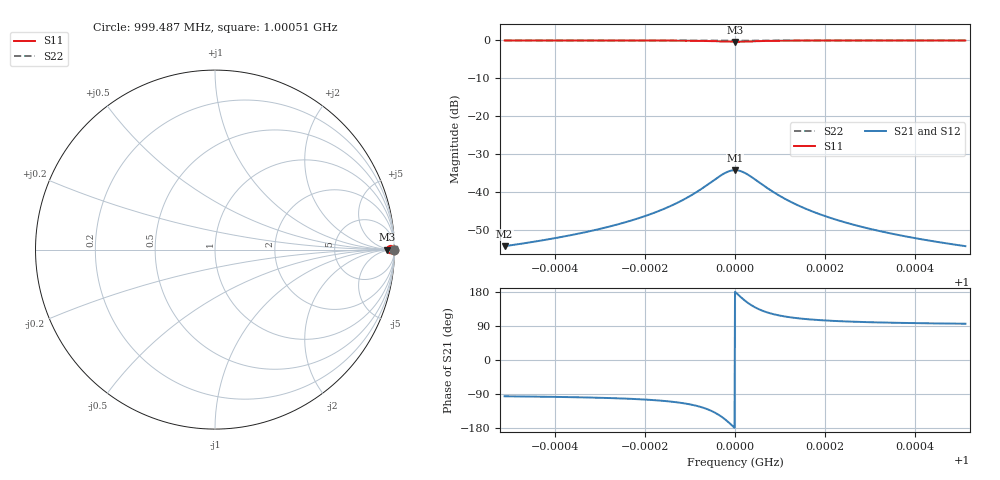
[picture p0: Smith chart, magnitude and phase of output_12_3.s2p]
! File generated for n1 = 12, n2 = 3
! b1 = 0.021544
! b2 = 0.004642
! Q0 = 10000.000000
! f0 = 1000000000.000000
! n = 1001
! rel_span = 10.000000
# Hz S RI R 50
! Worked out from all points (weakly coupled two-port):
!   1001 points, 999.487 MHz to 1.00051 GHz, reference 50 ohm
!   highest |S21| = -34.20 dB at 1 GHz (marker M1); lowest = -54.2 dB at 999.487 MHz (marker M2)
!   lowest |S11| = -0.4 dB at 1 GHz (marker M3), VSWR 46.63, Z = 2.33e+03 + j0 ohm
!   |S11| at or under -10 dB: nowhere
!   |S22| runs from -0.1 to 0.0 dB; largest |S21 - S12| = 0
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9.994869e8  0.9996 -0.00416  -0.000193 -0.00193  -0.000193 -0.00193  0.9999 -0.000895
9.995752e8  0.9994 -0.005  -0.00028 -0.00232  -0.00028 -0.00232  0.9999 -0.00108
9.996583e8  0.9991 -0.00616  -0.00043 -0.00286  -0.00043 -0.00286  0.9998 -0.00133
9.997527e8  0.9983 -0.00835  -0.000804 -0.00388  -0.000804 -0.00388  0.9996 -0.0018
9.997927e8  0.9976 -0.00979  -0.00112 -0.00455  -0.00112 -0.00455  0.9995 -0.00211
9.998297e8  0.9965 -0.0116  -0.00162 -0.00538  -0.00162 -0.00538  0.9992 -0.0025
9.998656e8  0.9947 -0.014  -0.00248 -0.00649  -0.00248 -0.00649  0.9988 -0.00301
9.998974e8  0.9916 -0.0168  -0.0039 -0.0078  -0.0039 -0.0078  0.9982 -0.00362
9.99922e8  0.9873 -0.0193  -0.00589 -0.00895  -0.00589 -0.00895  0.9973 -0.00415
9.999764e8  0.9653 -0.0159  -0.0161 -0.0074  -0.0161 -0.0074  0.9925 -0.00343
9.999887e8  0.9599 -0.00881  -0.0186 -0.00409  -0.0186 -0.00409  0.9914 -0.0019
1e9  0.958 0  -0.0195 0  -0.0195 0  0.991 0
1.000011e9  0.9599 0.00881  -0.0186 0.00409  -0.0186 0.00409  0.9914 0.0019
1.000024e9  0.9653 0.0159  -0.0161 0.0074  -0.0161 0.0074  0.9925 0.00343
1.000078e9  0.9873 0.0193  -0.00589 0.00895  -0.00589 0.00895  0.9973 0.00415
1.000103e9  0.9916 0.0168  -0.0039 0.0078  -0.0039 0.0078  0.9982 0.00362
1.000135e9  0.9947 0.0139  -0.00245 0.00646  -0.00245 0.00646  0.9989 0.003
1.000171e9  0.9965 0.0115  -0.0016 0.00536  -0.0016 0.00536  0.9993 0.00249
1.000248e9  0.9983 0.00832  -0.000798 0.00386  -0.000798 0.00386  0.9996 0.00179
1.000343e9  0.9991 0.00615  -0.000427 0.00285  -0.000427 0.00285  0.9998 0.00132
1.000426e9  0.9994 0.00499  -0.000279 0.00232  -0.000279 0.00232  0.9999 0.00107
1.000513e9  0.9996 0.00416  -0.000193 0.00193  -0.000193 0.00193  0.9999 0.000896
